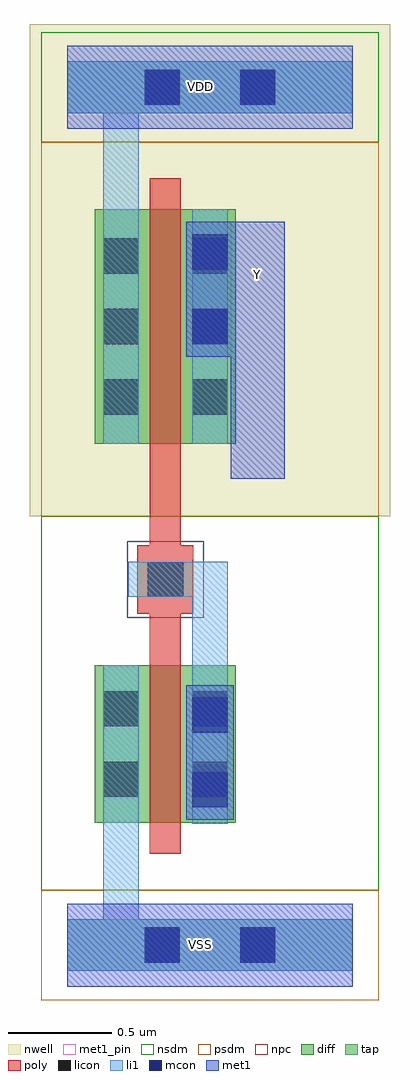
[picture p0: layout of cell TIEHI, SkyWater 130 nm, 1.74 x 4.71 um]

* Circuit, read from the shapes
.subckt TIEHI VDD VSS Y
XM1 n1 n1 VSS VSS sky130_fd_pr__nfet_01v8 w=0.76 l=0.15
XM2 Y n1 VDD VDD sky130_fd_pr__pfet_01v8 w=1.13 l=0.15
.ends

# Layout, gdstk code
from math import pi, radians
import gdstk
lib = gdstk.Library(unit=1e-6, precision=1e-09)
def R(c, l, rs):  # rectangles x0, y0, x1, y1
    for r in rs: c.add(gdstk.rectangle(r[:2], r[2:], *l))
def A(c, l, x, y, w, h, nx, ny, dx, dy):  # array of equal rectangles
    R(c, l, [(x+i*dx, y+j*dy, x+i*dx+w, y+j*dy+h) for i in range(nx) for j in range(ny)])
nwell = (64, 20)
diff = (65, 20)
tap = (65, 44)
poly = (66, 20)
licon = (66, 44)
li1 = (67, 20)
mcon = (67, 44)
met1_pin = (68, 16)
met1 = (68, 20)
nsdm = (93, 44)
psdm = (94, 20)
npc = (95, 20)

l1m1_c_cdns_749673193250 = lib.new_cell('L1M1_C_CDNS_749673193250')
R(l1m1_c_cdns_749673193250, li1, [(-0.085,-0.345,0.085,0.345)])
R(l1m1_c_cdns_749673193250, mcon, [(-0.085,-0.265,0.085,-0.095), (-0.085,0.095,0.085,0.265)])
R(l1m1_c_cdns_749673193250, met1, [(-0.115,-0.325,0.115,0.325)])

pyl1con_c_cdns_749673193 = lib.new_cell('PYL1CON_C_CDNS_749673193251')
R(pyl1con_c_cdns_749673193, poly, [(-0.135,-0.165,0.135,0.165)])
R(pyl1con_c_cdns_749673193, licon, [(-0.085,-0.085,0.085,0.085)])
R(pyl1con_c_cdns_749673193, npc, [(-0.185,-0.185,0.185,0.185)])

tiehi = lib.new_cell('TIEHI')
R(tiehi, nwell, [(-0.18,2.07,1.56,4.305), (-0.045,2.24,0.995,3.73), (-0.18,3.875,1.56,4.445)])
R(tiehi, diff, [(0.135,0.59,0.4,1.35), (0.4,0.59,0.55,1.35), (0.55,0.59,0.815,1.35), (0.135,2.42,0.4,3.55), (0.4,2.42,0.55,3.55), (0.55,2.42,0.815,3.55)])
R(tiehi, poly, [(0.4,0.44,0.55,0.495), (0.4,0.495,0.55,0.59), (0.4,0.59,0.55,1.35), (0.4,1.35,0.55,1.445), (0.4,1.445,0.55,1.5), (0.4,2.27,0.55,2.325), (0.4,2.325,0.55,2.42), (0.4,2.42,0.55,3.55), (0.4,3.55,0.55,3.645), (0.4,3.645,0.55,3.7)])
A(tiehi, licon, 0.175, 2.56, 0.17, 0.17, 1, 3, 0, 0.34)
A(tiehi, licon, 0.605, 2.56, 0.17, 0.17, 1, 3, 0, 0.34)
R(tiehi, licon, [(0.375,-0.085,0.545,0.085), (0.835,-0.085,1.005,0.085), (0.175,0.715,0.345,0.885), (0.605,0.715,0.775,0.885), (0.175,1.055,0.345,1.225), (0.605,1.055,0.775,1.225), (0.375,4.055,0.545,4.225), (0.835,4.055,1.005,4.225)])
R(tiehi, li1, [(0.175,0.59,0.345,1.35), (0.605,0.59,0.775,1.35), (0.175,2.42,0.345,3.55), (0.605,2.42,0.775,3.55)])
R(tiehi, mcon, [(0.375,-0.085,0.545,0.085), (0.835,-0.085,1.005,0.085), (0.375,4.055,0.545,4.225), (0.835,4.055,1.005,4.225)])
R(tiehi, met1_pin, [(0.79,2.25,1.05,3.49)])
R(tiehi, nsdm, [(-0.125,0.265,1.505,2.07), (-0.005,0.46,0.955,1.48), (-0.125,3.875,1.505,4.405), (-0.125,3.93,1.505,4.35)])
R(tiehi, psdm, [(-0.125,-0.265,1.505,0.265), (-0.125,-0.21,1.505,0.21), (-0.125,2.07,1.505,3.875), (-0.005,2.29,0.955,3.68)])
tiehi.add(gdstk.FlexPath([(0.92,3.49),(0.92,2.25)], 0.26, ends="flush", simple_path=True, layer=68, datatype=20))  # met1
tiehi.add(gdstk.FlexPath([(0,4.14),(1.38,4.14)], 0.4, ends="flush", simple_path=True, layer=68, datatype=20))  # met1
tiehi.add(gdstk.FlexPath([(0,0),(1.38,0)], 0.4, ends="flush", simple_path=True, layer=68, datatype=20))  # met1
tiehi.add(gdstk.FlexPath([(0,4.14),(1.38,4.14)], 0.25, ends="flush", simple_path=True, layer=65, datatype=44))  # tap
tiehi.add(gdstk.FlexPath([(0,0),(1.38,0)], 0.25, ends="flush", simple_path=True, layer=65, datatype=44))  # tap
tiehi.add(gdstk.FlexPath([(0.475,2.27),(0.475,1.46)], 0.15, ends="flush", simple_path=True, layer=66, datatype=20))  # poly
tiehi.add(gdstk.FlexPath([(0.26,3.55),(0.26,4.14)], 0.17, ends=(0, 0.125), simple_path=True, layer=67, datatype=20))  # li1
tiehi.add(gdstk.FlexPath([(0.26,0),(0.215,0)], 0.17, ends=(0.085, 0), simple_path=True, layer=67, datatype=20))  # li1
tiehi.add(gdstk.FlexPath([(0.26,0.59),(0.26,0)], 0.17, ends=(0, 0.085), simple_path=True, layer=67, datatype=20))  # li1
tiehi.add(gdstk.FlexPath([(0,0),(1.38,0)], 0.25, ends="flush", simple_path=True, layer=67, datatype=20))  # li1
tiehi.add(gdstk.FlexPath([(0.69,1.225),(0.69,1.85)], 0.17, ends="flush", simple_path=True, layer=67, datatype=20))  # li1
tiehi.add(gdstk.FlexPath([(0,4.14),(1.38,4.14)], 0.25, ends="flush", simple_path=True, layer=67, datatype=20))  # li1
tiehi.add(gdstk.FlexPath([(0.295,1.765),(0.64,1.765)], 0.17, ends="flush", simple_path=True, layer=67, datatype=20))  # li1
tiehi.add(gdstk.FlexPath([(0,0),(1.38,0)], 0.4, ends="flush", simple_path=True, layer=68, datatype=16))  # met1_pin
tiehi.add(gdstk.FlexPath([(0,4.14),(1.38,4.14)], 0.4, ends="flush", simple_path=True, layer=68, datatype=16))  # met1_pin
tiehi.add(gdstk.Reference(l1m1_c_cdns_749673193250, (0.69,3.165)))
tiehi.add(gdstk.Reference(l1m1_c_cdns_749673193250, (0.69,0.93)))
tiehi.add(gdstk.Reference(pyl1con_c_cdns_749673193, (0.475,1.765), rotation=pi, x_reflection=True))
tiehi.add(gdstk.Label('Y', (0.917,3.235), layer=68, texttype=5))
tiehi.add(gdstk.Label('VDD', (0.645,4.145), layer=68, texttype=5))
tiehi.add(gdstk.Label('VSS', (0.645,0.005), layer=68, texttype=5))

lib.write_gds('TIEHI.gds')
